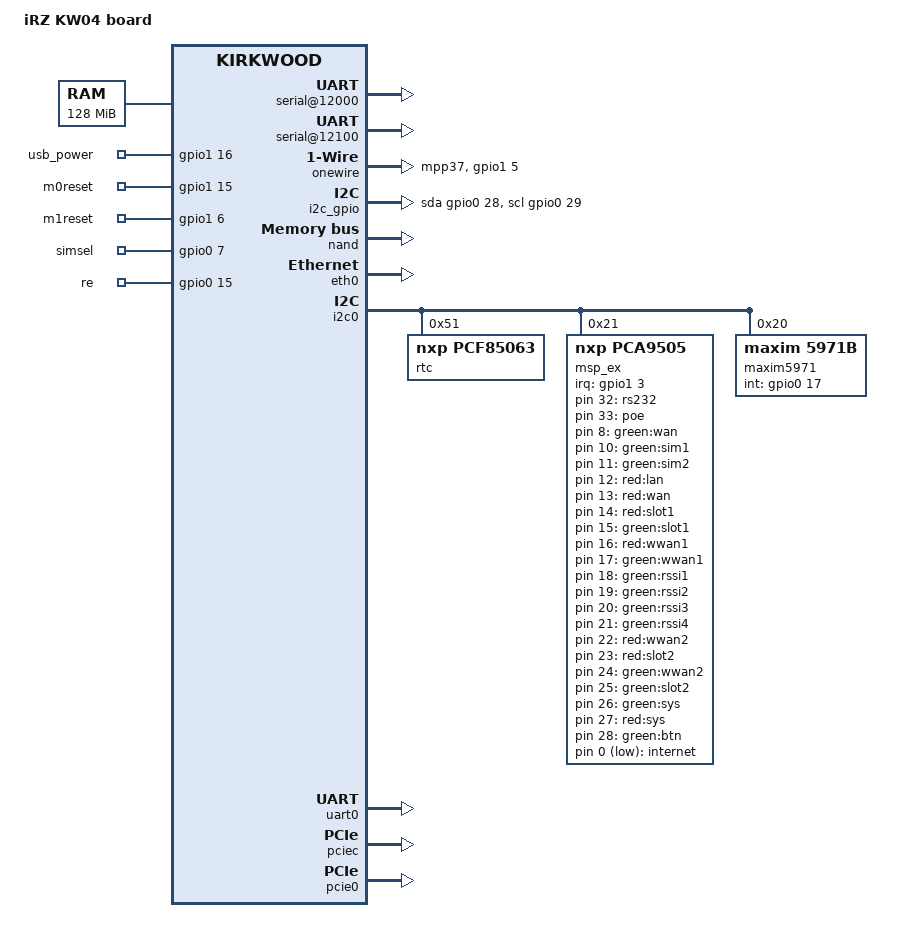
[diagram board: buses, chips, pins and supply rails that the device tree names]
/dts-v1/;

#include "kirkwood.dtsi"
#include "kirkwood-6281.dtsi"

/ {
	model = "iRZ KW04 board";
	compatible = "irz,kw04", "marvell,kirkwood-88f6281", "marvell,kirkwood";


	aliases {
		led-boot = &led_sys_green;
		led-failsafe = &led_sys_red;
		led-running = &led_sys_green;
		led-upgrade = &led_sys_red;
		serial0 = &uart0;
	};

	memory {
		device_type = "memory";
		reg = <0x00000000 0x8000000>;
	};

	chosen {
		stdout-path = "serial0:115200n8";
		bootargs = "";
	};

	ocp@f1000000 {
		pinctrl: pin-controller@10000 {
			pmx_usb_power: pmx-usb-power {
				marvell,pins = "mpp48";
				marvell,function = "gpio";
			};
			pmx_rede: pmx-rede {
				marvell,pins = "mpp15";
				marvell,function = "gpio";
			};
			pmx_m0_reset: pmx-gpio11 {
				marvell,pins = "mpp47";
				marvell,function = "gpio";
			};
			pmx_m1_reset: pmx-gpio12 {
				marvell,pins = "mpp38";
				marvell,function = "gpio";
			};
			pmx_gpio_dir_io_3: pmx-dir-io3 {
				marvell,pins = "mpp46";
				marvell,function = "gpio";
			};
			pmx_gpio_dir_io_0: pmx-dir-io0 {
				marvell,pins = "mpp44";
				marvell,function = "gpio";
			};
			pmx_gpio_dir_io_4: pmx-dir-io4 {
				marvell,pins = "mpp43";
				marvell,function = "gpio";
			};
			pmx_gpio_io_d: pmx-io-d {
				marvell,pins = "mpp42";
				marvell,function = "gpio";
			};
			pmx_gpio_io_c: pmx-io-c {
				marvell,pins = "mpp41";
				marvell,function = "gpio";
			};
			pmx_gpio_io_b: pmx-io-b {
				marvell,pins = "mpp40";
				marvell,function = "gpio";
			};
			pmx_gpio_cpu4: pmx-cpu4 {
				marvell,pins = "mpp39";
				marvell,function = "gpio";
			};
			pmx_gpio_cpu3: pmx-cpu3 {
				marvell,pins = "mpp37";
				marvell,function = "gpio";
			};
			pmx_gpio_cpu2: pmx-cpu2 {
				marvell,pins = "mpp36";
				marvell,function = "gpio";
			};
			pmx_gpio_cpu1: pmx-cpu1 {
				marvell,pins = "mpp35";
				marvell,function = "gpio";
			};
			pmx_gpio_1: pmx-gpio1 {
				marvell,pins = "mpp17";
				marvell,function = "gpio";
			};
			pmx_re_de: pmx-re-de {
				marvell,pins = "mpp15";
				marvell,function = "gpio";
			};
			pmx_swrst: pmx-swrst {
				marvell,pins = "mpp16";
				marvell,function = "gpio";
			};
			pmx_mpp12: pmx-mpp12 {
				marvell,pins = "mpp12";
				marvell,function = "gpio";
			};
			pmx_sim_select: pmx-sim-select {
				marvell,pins = "mpp7";
				marvell,function = "gpio";
			};
			pmx_mii_coll: pmx-mii-coll {
				marvell,pins = "mpp28";
				marvell,function = "gpio";
			};
			pmx_scl_i2c1: pmx-scl-i2c1 {
				marvell,pins = "mpp29";
				marvell,function = "gpio";
			};
			pmx_gpio_phy_int: pmx-phy-int {
				marvell,pins = "mpp45";
				marvell,function = "gpio";
			};
		};
		serial@12000 {
			status = "okay";
		};
		serial@12100 {
			status = "okay";
		};
		spi@10600 {
			status = "disabled";
		};
		rtc@10300 {
			status = "disabled";
		};
		wdt@20300 {
			status = "enabled";
		};
	};

	onewire: onewire@0 {
		compatible = "w1-gpio";
		pinctrl-0 = <&pmx_gpio_cpu3>;
		gpios = <&gpio1 5 GPIO_ACTIVE_HIGH>;
	};

	i2c_gpio: i2c@0 {
		compatible = "i2c-gpio";
		gpios = <&gpio0 28 (GPIO_ACTIVE_HIGH | GPIO_OPEN_DRAIN)
				&gpio0 29 (GPIO_ACTIVE_HIGH | GPIO_OPEN_DRAIN) >;
		i2c-gpio,delay-us = <2>;
		#address-cells = <1>;
		#size-cells = <0>;
	};

	gpio_export {
		compatible = "gpio-export";
		pinctrl-0 = < &pmx_usb_power &pmx_m0_reset &pmx_m1_reset
						&pmx_sim_select &pmx_rede >;
		pinctrl-names = "default";
		usb_power {
			gpios = <&gpio1 16 GPIO_ACTIVE_HIGH>;
			gpio-export,name  = "usb_power";
			gpio-export,output = <1>;
		};
		m0reset {
			gpios = <&gpio1 15 GPIO_ACTIVE_HIGH>;
			gpio-export,name  = "m0reset";
			gpio-export,output = <0>;
		};
		m1reset {
			gpios = <&gpio1 6 GPIO_ACTIVE_HIGH>;
			gpio-export,name  = "m1reset";
			gpio-export,output = <1>;
		};
		simsel {
			gpios = <&gpio0 7 GPIO_ACTIVE_HIGH>;
			gpio-export,name  = "simsel";
			gpio-export,output = <1>;
		};
		re_de {
			gpios = <&gpio0 15 GPIO_ACTIVE_HIGH>;
			gpio-export,name  = "re";
			gpio-export,direction_may_change;
		};
		rs232 {
			gpios = <&msp_ex 32 GPIO_ACTIVE_HIGH>;
			gpio-export,name = "rs232";
			gpio-export,output=<0>;
		};
		poe {
			gpios = <&msp_ex 33 GPIO_ACTIVE_HIGH>;
			gpio-export,name = "poe";
			gpio-export,output=<1>;
		};
	};

	gpio-leds {
		compatible = "gpio-leds";
		green_wan {
			gpios = <&msp_ex 8 GPIO_ACTIVE_HIGH>;
			label = "green:wan";
		};
		green_sim1 {
			gpios = <&msp_ex 10 GPIO_ACTIVE_HIGH>;
			label = "green:sim1";
		};
		green_sim2 {
			gpios = <&msp_ex 11 GPIO_ACTIVE_HIGH>;
			label = "green:sim2";
		};
		red_lan {
			gpios = <&msp_ex 12 GPIO_ACTIVE_HIGH>;
			label = "red:lan";
		};
		red_wan {
			gpios = <&msp_ex 13 GPIO_ACTIVE_HIGH>;
			label = "red:wan";
		};
		red_slot1 {
			gpios = <&msp_ex 14 GPIO_ACTIVE_HIGH>;
			label = "red:slot1";
		};
		green_slot1 {
			gpios = <&msp_ex 15 GPIO_ACTIVE_HIGH>;
			label = "green:slot1";
		};
		red_wwan1 {
			gpios = <&msp_ex 16 GPIO_ACTIVE_HIGH>;
			label = "red:wwan1";
		};
		green_wwan1 {
			gpios = <&msp_ex 17 GPIO_ACTIVE_HIGH>;
			label = "green:wwan1";
		};
		rssi1 {
			gpios = <&msp_ex 18 GPIO_ACTIVE_HIGH>;
			label = "green:rssi1";
		};
		rssi2 {
			gpios = <&msp_ex 19 GPIO_ACTIVE_HIGH>;
			label = "green:rssi2";
		};
		rssi3 {
			gpios = <&msp_ex 20 GPIO_ACTIVE_HIGH>;
			label = "green:rssi3";
		};
		rssi4 {
			gpios = <&msp_ex 21 GPIO_ACTIVE_HIGH>;
			label = "green:rssi4";
		};
		red_wwan2 {
			gpios = <&msp_ex 22 GPIO_ACTIVE_HIGH>;
			label = "red:wwan2";
		};
		red_slot2 {
			gpios = <&msp_ex 23 GPIO_ACTIVE_HIGH>;
			label = "red:slot2";
		};
		green_wwan2 {
			gpios = <&msp_ex 24 GPIO_ACTIVE_HIGH>;
			label = "green:wwan2";
		};
		green_slot2 {
			gpios = <&msp_ex 25 GPIO_ACTIVE_HIGH>;
			label = "green:slot2";
		};
		led_sys_green: green_sys {
			gpios = <&msp_ex 26 GPIO_ACTIVE_HIGH>;
			label = "green:sys";
		};
		led_sys_red: red_sys {
			gpios = <&msp_ex 27 GPIO_ACTIVE_HIGH>;
			label = "red:sys";
		};
		green_btn {
			gpios = <&msp_ex 28 GPIO_ACTIVE_HIGH>;
			label = "green:btn";
		};
	};

	gpio-keys-polled {
		compatible = "gpio-keys-polled";
		pinctrl-names = "default";
		
		#address-cells = <1>;
		#size-cells = <0>;
		
		poll-interval = <500>;
		autorepeat;
		
		internet {
			label = "internet";
			linux,code = <BTN_1>;
			gpios = <&msp_ex 0 GPIO_ACTIVE_LOW>;
		};
		
		reset {
			label = "reset";
			linux,code = <KEY_RESTART>;
			gpios = <&msp_ex 1 GPIO_ACTIVE_LOW>;
		};
		
		sfp {
			label = "sfp";
			linux,code = <BTN_0>;
			gpios = <&msp_ex 2 GPIO_ACTIVE_LOW>;
		};
	};
};

&nand {
	status = "okay";
	
		partition@0 {
			label = "u-boot";
			reg = <0x0 0x80000>;
			read-only;
		};
		
		partition@80000 {
			label = "u-boot-env";
			reg = <0x80000 0x20000>;
		};
		
		partition@a0000 {
			label = "ubi";
			reg = <0xa0000 0x5f00000>;
		};
		
		partition@5fa0000 {
			label = "opt";
			reg = <0x5fa0000 0x2060000>;
		};
};

&eth0 {
	status = "okay";
	ethernet0-port@0 {
		speed = <1000>;
		duplex = <1>;
	};
};

&eth1 {
	status = "disabled";
};

&i2c0 {
	status = "okay";

//	clock-frequency = <50000>;

	rtc@51 {
		compatible = "nxp,pcf85063";
		reg = <0x51>;
	};

	msp_ex: gpio@21 {
		compatible = "nxp,pca9505";
		pinctrl-0 = < &pmx_gpio_cpu2 >;
		pinctrl-names = "default";
		reg = <0x21>;
		#gpio-cells = <2>;
		gpio-controller;
		ngpios = <40>;
		interrupt-parent = <&gpio1>;
		interrupts = < 3 4 >;
	};

	maxim5971@20 {
		pinctrl-0 = < &pmx_gpio_1 >;
		pinctrl-names = "default";
		compatible = "maxim,5971b";
		reg = <0x20>;
		int = <&gpio0 17 0x0>;
	};
};

&uart0 {
	status = "okay";
};


&sata_phy0{
	status="disabled";
};

&sata_phy1{
	status="disabled";
};

&pciec {
    status="okay";
};

&pcie0 {
    status="okay";
};
